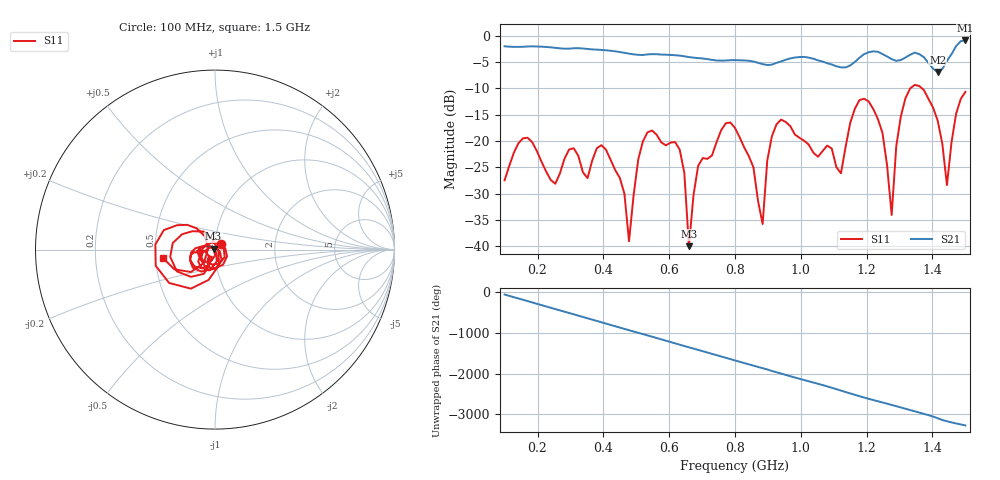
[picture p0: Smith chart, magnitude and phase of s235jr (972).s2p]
! NanoVNA-App
! Date: 2025-09-25 15:11:44
! Start: 100MHz Stop: 1,5GHz Points: 101
! S-Parameter data: F S11 S21 S12 S22
# Hz S RI R 50
!  Frequency  S11_Real  S11_Imag  S21_Real  S21_Imag  S12_Real  S12_Imag  S22_Real  S22_Imag
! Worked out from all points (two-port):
!   101 points, 100 MHz to 1.5 GHz, reference 50 ohm
!   highest |S21| = -0.85 dB at 1.5 GHz (marker M1); lowest = -6.8 dB at 1.416 GHz (marker M2)
!   |S21| within 3 dB of the highest: start of sweep to 643.7 MHz; 1.184 GHz to 1.261 GHz (76.37 MHz wide, 6.25 % of centre) (the widest 2 of 4)
!   lowest |S11| = -40.0 dB at 660 MHz (marker M3), VSWR 1.02, Z = 49.2 + j0.561 ohm
!   |S11| at or under -10 dB: start of sweep to 1.332 GHz; 1.368 GHz to end of sweep
!   S12 and S22 are empty: the file has one direction only
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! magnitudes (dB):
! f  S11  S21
! 100 MHz  -27.5  -2.0
! 170 MHz  -19.4  -2.0
! 338 MHz  -26.0  -2.4
! 408 MHz  -21.6  -2.7
! 478 MHz  -39.1  -3.4
! 520 MHz  -20.1  -3.6
! 576 MHz  -20.3  -3.5
! 632 MHz  -21.6  -3.7
! 660 MHz  -40.0  -4.0
! 688 MHz  -24.7  -4.2
! 800 MHz  -17.5  -4.6
! 884 MHz  -35.8  -5.4
! 926 MHz  -16.8  -5.1
! 1.038 GHz  -22.2  -4.3
! 1.122 GHz  -26.1  -6.0
! 1.206 GHz  -12.5  -3.1
! 1.276 GHz  -34.1  -4.4
! 1.29 GHz  -21.0  -4.7
! 1.332 GHz  -10.0  -3.6
! 1.416 GHz  -16.2  -6.8
! 1.444 GHz  -28.4  -4.8
! 1.5 GHz  -10.7  -0.9
